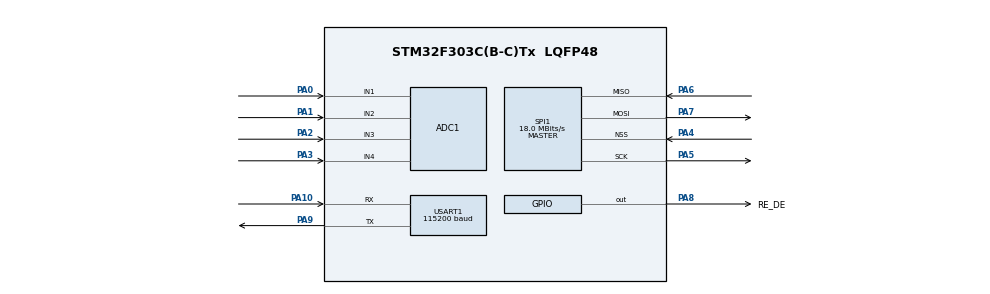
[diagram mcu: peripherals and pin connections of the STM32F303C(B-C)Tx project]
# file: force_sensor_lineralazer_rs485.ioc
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ADC1.Channel-0\#ChannelRegularConversion=ADC_CHANNEL_1
ADC1.Channel-1\#ChannelRegularConversion=ADC_CHANNEL_2
ADC1.Channel-2\#ChannelRegularConversion=ADC_CHANNEL_3
ADC1.Channel-3\#ChannelRegularConversion=ADC_CHANNEL_4
ADC1.DiscontinuousConvMode=ENABLE
ADC1.NbrOfConversion=4
ADC1.NbrOfConversionFlag=1
ADC1.Offset-0\#ChannelRegularConversion=0
ADC1.Offset-1\#ChannelRegularConversion=0
ADC1.Offset-2\#ChannelRegularConversion=0
ADC1.Offset-3\#ChannelRegularConversion=0
ADC1.OffsetNumber-0\#ChannelRegularConversion=ADC_OFFSET_NONE
ADC1.OffsetNumber-1\#ChannelRegularConversion=ADC_OFFSET_NONE
ADC1.OffsetNumber-2\#ChannelRegularConversion=ADC_OFFSET_NONE
ADC1.OffsetNumber-3\#ChannelRegularConversion=ADC_OFFSET_NONE
ADC1.Rank-0\#ChannelRegularConversion=1
ADC1.Rank-1\#ChannelRegularConversion=2
ADC1.Rank-2\#ChannelRegularConversion=3
ADC1.Rank-3\#ChannelRegularConversion=4
ADC1.SamplingTime-0\#ChannelRegularConversion=ADC_SAMPLETIME_7CYCLES_5
ADC1.SamplingTime-1\#ChannelRegularConversion=ADC_SAMPLETIME_7CYCLES_5
ADC1.SamplingTime-2\#ChannelRegularConversion=ADC_SAMPLETIME_7CYCLES_5
ADC1.SamplingTime-3\#ChannelRegularConversion=ADC_SAMPLETIME_7CYCLES_5
ADC1.SamplingTimeOPAMP-1\#ChannelRegularConversion=ADC_SAMPLETIME_61CYCLES_5
ADC1.SamplingTimeOPAMP-2\#ChannelRegularConversion=ADC_SAMPLETIME_61CYCLES_5
ADC1.SamplingTimeOPAMP-3\#ChannelRegularConversion=ADC_SAMPLETIME_61CYCLES_5
ADC1.master=1
CRC.InputDataFormat=CRC_INPUTDATA_FORMAT_WORDS
Mcu.Family=STM32F3
Mcu.Name=STM32F303C(B-C)Tx
Mcu.Package=LQFP48
NVIC.PriorityGroup=NVIC_PRIORITYGROUP_4
NVIC.USART1_IRQn=true\:0\:0\:false\:false\:true\:true\:true\:true
PA0.Mode=IN1-Single-Ended
PA0.Signal=ADC1_IN1
PA1.Mode=IN2-Single-Ended
PA1.Signal=ADC1_IN2
PA10.Mode=Asynchronous
PA10.Signal=USART1_RX
PA13.Mode=Serial_Wire
PA13.Signal=SYS_JTMS-SWDIO
PA14.Mode=Serial_Wire
PA14.Signal=SYS_JTCK-SWCLK
PA2.Mode=IN3-Single-Ended
PA2.Signal=ADC1_IN3
PA3.Mode=IN4-Single-Ended
PA3.Signal=ADC1_IN4
PA4.Mode=NSS_Signal_Hard_Input
PA4.Signal=SPI1_NSS
PA5.Mode=Full_Duplex_Master
PA5.Signal=SPI1_SCK
PA6.Mode=Full_Duplex_Master
PA6.Signal=SPI1_MISO
PA7.Mode=Full_Duplex_Master
PA7.Signal=SPI1_MOSI
PA8.GPIO_Label=RE_DE
PA8.GPIO_Speed=GPIO_SPEED_FREQ_HIGH
PA8.Signal=GPIO_Output
PA9.Mode=Asynchronous
PA9.Signal=USART1_TX
PF0-OSC_IN.Mode=HSE-External-Oscillator
PF0-OSC_IN.Signal=RCC_OSC_IN
PF1-OSC_OUT.Mode=HSE-External-Oscillator
PF1-OSC_OUT.Signal=RCC_OSC_OUT
ProjectManager.HeapSize=0x200
ProjectManager.StackSize=0x400
ProjectManager.TargetToolchain=STM32CubeIDE
RCC.AHBFreq_Value=72000000
RCC.APB1CLKDivider=RCC_HCLK_DIV2
RCC.APB1Freq_Value=36000000
RCC.APB1TimFreq_Value=72000000
RCC.APB2CLKDivider=RCC_HCLK_DIV2
RCC.APB2Freq_Value=36000000
RCC.APB2TimFreq_Value=72000000
RCC.CortexFreq_Value=72000000
RCC.HCLKFreq_Value=72000000
RCC.HSE_VALUE=16000000
RCC.HSI_VALUE=8000000
RCC.LSE_VALUE=32768
RCC.PLLMUL=RCC_PLL_MUL9
RCC.PLLSourceVirtual=RCC_PLLSOURCE_HSE
RCC.RCC_PLLsource_Clock_Source_FROM_HSE=RCC_HSE_PREDIV_DIV2
RCC.SYSCLKFreq_VALUE=72000000
RCC.SYSCLKSourceVirtual=RCC_SYSCLKSOURCE_PLLCLK
RCC.USBFreq_Value=72000000
SPI1.CalculateBaudRate=18.0 MBits/s
SPI1.Direction=SPI_DIRECTION_2LINES
SPI1.Mode=SPI_MODE_MASTER
SPI1.VirtualNSS=VM_NSSHARD
SPI1.VirtualType=VM_MASTER
USART1.BaudRate=115200
USART1.VirtualMode-Asynchronous=VM_ASYNC
VP_CRC_VS_CRC.Mode=CRC_Activate
board=custom

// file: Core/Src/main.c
/* USER CODE BEGIN Header */
/**
  ******************************************************************************
  * @file           : main.c
  * @brief          : Main program body
  ******************************************************************************
  * @attention
  *
  * Copyright (c) 2025 STMicroelectronics.
  * All rights reserved.
  *
  * This software is licensed under terms that can be found in the LICENSE file
  * in the root directory of this software component.
  * If no LICENSE file comes with this software, it is provided AS-IS.
  *
  ******************************************************************************
  */
/* USER CODE END Header */
#include "main.h"
#include "adc.h"
#include "crc.h"
#include "spi.h"
#include "usart.h"
#include "gpio.h"

/* USER CODE BEGIN Includes */
#include "force_sensor_lineralazer_lib.h"
#include "globals.h"
/* USER CODE END Includes */

void SystemClock_Config(void);

int main(void)
{

  /* MCU Configuration--------------------------------------------------------*/

  /* Reset of all peripherals, Initializes the Flash interface and the Systick. */
  HAL_Init();

  /* Configure the system clock */
  SystemClock_Config();

  /* Initialize all configured peripherals */
  MX_GPIO_Init();
  MX_ADC1_Init();
  MX_USART1_UART_Init();
  MX_CRC_Init();
  MX_SPI1_Init();
  /* USER CODE BEGIN 2 */
  uint32_t crc_test_value = 462;
  uint32_t crcInput_value = 0;
  uint32_t adc_uint32_Buffer[4] = {0};

  // Allow USART 1 to work
  NVIC_EnableIRQ(USART1_IRQn);

  USART1->CR1 |= USART_CR1_TE | USART_CR1_RE;
  LL_USART_EnableIT_RXNE(USART1);
  LL_USART_EnableIT_ERROR(USART1);
  LL_GPIO_ResetOutputPin(RE_DE_GPIO_Port, RE_DE_Pin); // Set MAX485 to Rx mode
  // Clear variables and arrays to calm my anxiety (￢‿￢ )
  memset(rxBuffer, 0, sizeof(rxBuffer));
  rxBufferCounter = 0;
  /* USER CODE END 2 */

  /* Infinite loop */
  /* USER CODE BEGIN WHILE */
  while (1)
  {
	  LL_mDelay(1);
	  switch(rxBuffer[0]) // Pointer to command
		  {
			 case 'r':
				// ADC value equal from 0 to 4095, because we have 12 bit ADC
				memset(adc_uint32_Buffer, 0, sizeof(adc_uint32_Buffer));
				calculated_CRC_32=0;
				crcInput_value = 0;

				readADCchannels(); // ADC conversation for 4 channels
				for (uint8_t i = 0; i < 4; i++)
					adc_uint32_Buffer[i] = (uint32_t)adcBuffer[i];
				calculated_CRC_32 = HAL_CRC_Calculate(&hcrc, &adc_uint32_Buffer, 4);

				 for(uint8_t i=0; i<4; i++)
					memcpy(txBuffer + (i * sizeof(adcBuffer[0])), (uint8_t*)(&adcBuffer[i]), sizeof(adcBuffer[0]));
				 memcpy(txBuffer + (4*sizeof(adcBuffer[0])), (uint8_t*)(&calculated_CRC_32), sizeof(calculated_CRC_32));

				 transmitData(USART1, (uint8_t*)txBuffer, ((4 * sizeof(adcBuffer[0])) + sizeof(calculated_CRC_32)));
				 clearBufferAndCounter();
				 break;

			 case 'f':
				 calculated_CRC_32 = HAL_CRC_Calculate(&hcrc, &crc_test_value, 1); // 462
				 memcpy(txBuffer, (uint8_t*)(&calculated_CRC_32), sizeof(calculated_CRC_32));
				 transmitData(USART1, (uint8_t*)txBuffer, 4);
				 clearBufferAndCounter();
				 break;

			 default:
				 clearBufferAndCounter();
				 continue;
		  }

    /* USER CODE END WHILE */

  }
}

void SystemClock_Config(void)
{
  LL_FLASH_SetLatency(LL_FLASH_LATENCY_2);
  while(LL_FLASH_GetLatency()!= LL_FLASH_LATENCY_2)
  {
  }
  LL_RCC_HSE_Enable();

   /* Wait till HSE is ready */
  while(LL_RCC_HSE_IsReady() != 1)
  {

  }
  LL_RCC_PLL_ConfigDomain_SYS(LL_RCC_PLLSOURCE_HSE_DIV_2, LL_RCC_PLL_MUL_9);
  LL_RCC_PLL_Enable();

   /* Wait till PLL is ready */
  while(LL_RCC_PLL_IsReady() != 1)
  {

  }
  LL_RCC_SetAHBPrescaler(LL_RCC_SYSCLK_DIV_1);
  LL_RCC_SetAPB1Prescaler(LL_RCC_APB1_DIV_2);
  LL_RCC_SetAPB2Prescaler(LL_RCC_APB2_DIV_2);
  LL_RCC_SetSysClkSource(LL_RCC_SYS_CLKSOURCE_PLL);

   /* Wait till System clock is ready */
  while(LL_RCC_GetSysClkSource() != LL_RCC_SYS_CLKSOURCE_STATUS_PLL)
  {

  }
  LL_SetSystemCoreClock(72000000);

   /* Update the time base */
  if (HAL_InitTick (TICK_INT_PRIORITY) != HAL_OK)
  {
    Error_Handler();
  }
  LL_RCC_SetUSARTClockSource(LL_RCC_USART1_CLKSOURCE_PCLK2);
  LL_RCC_SetADCClockSource(LL_RCC_ADC12_CLKSRC_PLL_DIV_1);
}

void Error_Handler(void)
{
  __disable_irq();
  while (1)
  {
  }
}
